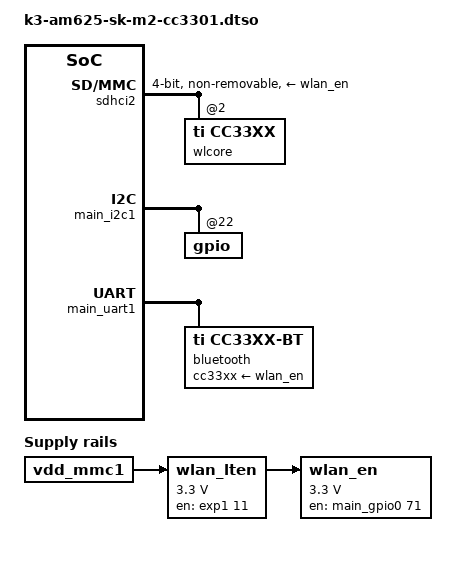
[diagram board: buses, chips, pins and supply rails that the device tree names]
// SPDX-License-Identifier: GPL-2.0-or-later OR MIT
/**
 * DT Overlay for M.2-CC3301 board to connect to the M.2 connector on AM625-SK.
 *
 * Product page for board: https://www.ti.com/tool/M2-CC3301
 * CC3301 Datasheet: https://www.ti.com/lit/ds/symlink/cc3301.pdf
 *
 * Copyright (C) 2024 Texas Instruments Incorporated - http://www.ti.com/
 */

/dts-v1/;
/plugin/;

#include <dt-bindings/gpio/gpio.h>
#include <dt-bindings/interrupt-controller/irq.h>
#include "k3-pinctrl.h"

&{/} {
	wlan_lten: regulator-30 {
		compatible = "regulator-fixed";
		regulator-name = "wlan_lten";
		regulator-min-microvolt = <3300000>;
		regulator-max-microvolt = <3300000>;
		vin-supply = <&vdd_mmc1>;
		gpios = <&exp1 11 GPIO_ACTIVE_HIGH>; /* Enables level shifter output U2 */
		enable-active-high;
	};

	wlan_en: regulator-31 {
		compatible = "regulator-fixed";
		regulator-name = "wlan_en";
		regulator-min-microvolt = <3300000>;
		regulator-max-microvolt = <3300000>;
		vin-supply = <&wlan_lten>;
		enable-active-high;
		gpios = <&main_gpio0 71 GPIO_ACTIVE_HIGH>; /* W_DISABLE# */
		pinctrl-names = "default";
		pinctrl-0 = <&wlan_en_pins_default>;
	};
};

&main_pmx0 {
	wlan_en_pins_default: wlan-en-pins-default {
		pinctrl-single,pins = <
				AM62X_IOPAD(0x124, PIN_OUTPUT, 7) /* (A23) MMC2_SDCD.GPIO0_71 */
		>;
	};

	main_mmc2_pins_default: main-mmc2-pins-default {
		pinctrl-single,pins = <
			AM62X_IOPAD(0x120, PIN_INPUT, 0) /* (C24) MMC2_CMD */
			AM62X_IOPAD(0x118, PIN_INPUT, 0) /* (D25) MMC2_CLK */
			AM62X_IOPAD(0x114, PIN_INPUT, 0) /* (B24) MMC2_DAT0 */
			AM62X_IOPAD(0x110, PIN_INPUT, 0) /* (C25) MMC2_DAT1 */
			AM62X_IOPAD(0x10c, PIN_INPUT, 0) /* (E23) MMC2_DAT2 */
			AM62X_IOPAD(0x108, PIN_INPUT, 0) /* (D24) MMC2_DAT3 */
			AM62X_IOPAD(0x11c, PIN_INPUT, 0) /* (#N/A) MMC2_CLKB */
		>;
	};

	main_wlirq_pins_default: main-wlirq-pins-default {
		pinctrl-single,pins = <
			AM62X_IOPAD(0x128, PIN_INPUT, 7) /* (B23) MMC2_SDWP.GPIO0_72 */
		>;
	};
};

&sdhci2 {
	status = "okay";
	bootph-all;
	vmmc-supply = <&wlan_en>;
	vqmmc-supply = <&vcc_1v8>;
	pinctrl-names = "default";
	pinctrl-0 = <&main_mmc2_pins_default>;
	bus-width = <4>;
	non-removable;
	ti,fails-without-test-cd;
	cap-power-off-card;
	keep-power-in-suspend;

//	sdhci-caps-mask = <0x00000006 0x00000000>; /* Limit to SDR50 */
//	sdhci-caps-mask = <0x00000002 0x00000000>; /* Limit to DDR50 */

	#address-cells = <1>;
	#size-cells = <0>;

	wlcore: wlcore@2 {
		compatible = "ti,cc33xx";
		reg = <2>;
	};
};

&main_i2c1 {
	gpio@22 {
		p12-hog {
			/* P12 - UART1_FET_BUF_EN */
			gpio-hog;
			gpios = <10 GPIO_ACTIVE_HIGH>;
			output-low;
			line-name = "UART1_FET_BUF_EN";
		};

		p25-hog {
			/* P25 - UART1_FET_SEL */
			gpio-hog;
			gpios = <21 GPIO_ACTIVE_HIGH>;
			output-low;
			line-name = "UART1_FET_SEL";
		};
	};
};

&main_uart1 {
	status = "okay";
	bootph-all;
	uart-has-rtscts;

        bluetooth {
                compatible = "ti,cc33xx-bt";
		cc33xx-supply = <&wlan_en>;
                max-speed = <115200>;
        };
};

